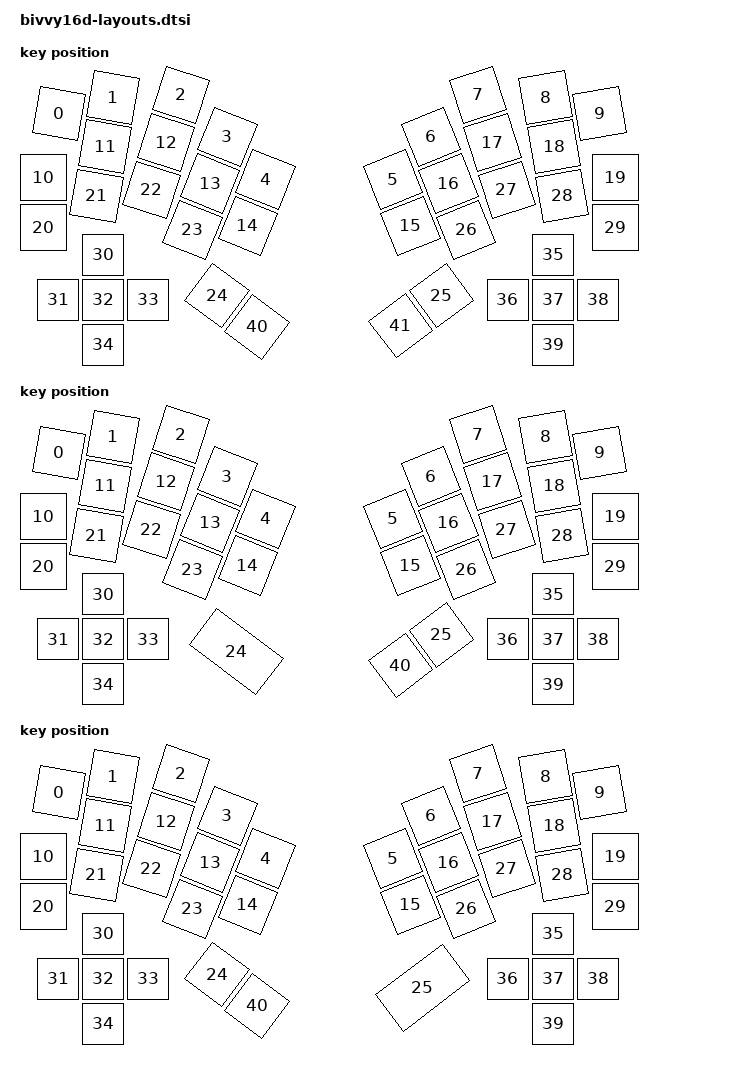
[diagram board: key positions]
#include <physical_layouts.dtsi>

/ {
    physical_layout0: physical_layout_0 {
        compatible = "zmk,physical-layout";
        display-name = "LAYOUT_L16_R16";

        kscan = <&kscan0>;
        transform = <&matrix_transform0>;

        keys  //                     w   h    x    y     rot    rx    ry
            = <&key_physical_attrs 100 100   32   37    1000    82    87>
            , <&key_physical_attrs 100 100  140    5    1000   190    55>
            , <&key_physical_attrs 100 100  276    0    1800   326    50>
            , <&key_physical_attrs 100 100  369   84    2200   419   134>
            , <&key_physical_attrs 100 100  445  169    2200   495   219>
            , <&key_physical_attrs 100 100  700  169 (-2200)   750   219>
            , <&key_physical_attrs 100 100  776   84 (-2200)   826   134>
            , <&key_physical_attrs 100 100  870    0 (-1800)   920    50>
            , <&key_physical_attrs 100 100 1005    5 (-1000)  1055    55>
            , <&key_physical_attrs 100 100 1113   37 (-1000)  1163    87>
            , <&key_physical_attrs 100 100    0  165       0     0     0>
            , <&key_physical_attrs 100 100  124  103    1000   174   153>
            , <&key_physical_attrs 100 100  246   95    1800   296   145>
            , <&key_physical_attrs 100 100  334  177    2200   384   227>
            , <&key_physical_attrs 100 100  410  262    2200   460   312>
            , <&key_physical_attrs 100 100  735  262 (-2200)   785   312>
            , <&key_physical_attrs 100 100  811  177 (-2200)   861   227>
            , <&key_physical_attrs 100 100  899   95 (-1800)   949   145>
            , <&key_physical_attrs 100 100 1022  103 (-1000)  1072   153>
            , <&key_physical_attrs 100 100 1145  165       0     0     0>
            , <&key_physical_attrs 100 100    0  265       0     0     0>
            , <&key_physical_attrs 100 100  107  202    1000   157   252>
            , <&key_physical_attrs 100 100  217  190    1800   267   240>
            , <&key_physical_attrs 100 100  299  270    2200   349   320>
            , <&key_physical_attrs 100 100  348  401    3700   398   451>
            , <&key_physical_attrs 100 100  797  401 (-3700)   847   451>
            , <&key_physical_attrs 100 100  846  270 (-2200)   896   320>
            , <&key_physical_attrs 100 100  928  190 (-1800)   978   240>
            , <&key_physical_attrs 100 100 1038  202 (-1000)  1088   252>
            , <&key_physical_attrs 100 100 1145  265       0     0     0>
            , <&key_physical_attrs  90  90  125  325       0     0     0>
            , <&key_physical_attrs  90  90   35  415       0     0     0>
            , <&key_physical_attrs  90  90  125  415       0     0     0>
            , <&key_physical_attrs  90  90  215  415       0     0     0>
            , <&key_physical_attrs  90  90  125  505       0     0     0>
            , <&key_physical_attrs  90  90 1025  325       0     0     0>
            , <&key_physical_attrs  90  90  935  415       0     0     0>
            , <&key_physical_attrs  90  90 1025  415       0     0     0>
            , <&key_physical_attrs  90  90 1115  415       0     0     0>
            , <&key_physical_attrs  90  90 1025  505       0     0     0>
            , <&key_physical_attrs 100 100  428  464    3700   478   514>
            , <&key_physical_attrs 100 100  717  461 (-3700)   767   514>
            ;
    };

    physical_layout1: physical_layout_1 {
        compatible = "zmk,physical-layout";
        display-name = "LAYOUT_L15_R16";

        kscan = <&kscan1>;
        transform = <&matrix_transform1>;

        keys  //                     w   h    x    y     rot    rx    ry
            = <&key_physical_attrs 100 100   32   37    1000    82    87>
            , <&key_physical_attrs 100 100  140    5    1000   190    55>
            , <&key_physical_attrs 100 100  276    0    1800   326    50>
            , <&key_physical_attrs 100 100  369   84    2200   419   134>
            , <&key_physical_attrs 100 100  445  169    2200   495   219>
            , <&key_physical_attrs 100 100  700  169 (-2200)   750   219>
            , <&key_physical_attrs 100 100  776   84 (-2200)   826   134>
            , <&key_physical_attrs 100 100  870    0 (-1800)   920    50>
            , <&key_physical_attrs 100 100 1005    5 (-1000)  1055    55>
            , <&key_physical_attrs 100 100 1113   37 (-1000)  1163    87>
            , <&key_physical_attrs 100 100    0  165       0     0     0>
            , <&key_physical_attrs 100 100  124  103    1000   174   153>
            , <&key_physical_attrs 100 100  246   95    1800   296   145>
            , <&key_physical_attrs 100 100  334  177    2200   384   227>
            , <&key_physical_attrs 100 100  410  262    2200   460   312>
            , <&key_physical_attrs 100 100  735  262 (-2200)   785   312>
            , <&key_physical_attrs 100 100  811  177 (-2200)   861   227>
            , <&key_physical_attrs 100 100  899   95 (-1800)   949   145>
            , <&key_physical_attrs 100 100 1022  103 (-1000)  1072   153>
            , <&key_physical_attrs 100 100 1145  165       0     0     0>
            , <&key_physical_attrs 100 100    0  265       0     0     0>
            , <&key_physical_attrs 100 100  107  202    1000   157   252>
            , <&key_physical_attrs 100 100  217  190    1800   267   240>
            , <&key_physical_attrs 100 100  299  270    2200   349   320>
            , <&key_physical_attrs 175 100  357  437    3700   445   474>
            , <&key_physical_attrs 100 100  797  401 (-3700)   847   451>
            , <&key_physical_attrs 100 100  846  270 (-2200)   896   320>
            , <&key_physical_attrs 100 100  928  190 (-1800)   978   240>
            , <&key_physical_attrs 100 100 1038  202 (-1000)  1088   252>
            , <&key_physical_attrs 100 100 1145  265       0     0     0>
            , <&key_physical_attrs  90  90  125  325       0     0     0>
            , <&key_physical_attrs  90  90   35  415       0     0     0>
            , <&key_physical_attrs  90  90  125  415       0     0     0>
            , <&key_physical_attrs  90  90  215  415       0     0     0>
            , <&key_physical_attrs  90  90  125  505       0     0     0>
            , <&key_physical_attrs  90  90 1025  325       0     0     0>
            , <&key_physical_attrs  90  90  935  415       0     0     0>
            , <&key_physical_attrs  90  90 1025  415       0     0     0>
            , <&key_physical_attrs  90  90 1115  415       0     0     0>
            , <&key_physical_attrs  90  90 1025  505       0     0     0>
            , <&key_physical_attrs 100 100  717  461 (-3700)   767   514>
            ;
    };

    physical_layout2: physical_layout_2 {
        compatible = "zmk,physical-layout";
        display-name = "LAYOUT_L16_R15";

        kscan = <&kscan2>;
        transform = <&matrix_transform2>;

        keys  //                     w   h    x    y     rot    rx    ry
            = <&key_physical_attrs 100 100   32   37    1000    82    87>
            , <&key_physical_attrs 100 100  140    5    1000   190    55>
            , <&key_physical_attrs 100 100  276    0    1800   326    50>
            , <&key_physical_attrs 100 100  369   84    2200   419   134>
            , <&key_physical_attrs 100 100  445  169    2200   495   219>
            , <&key_physical_attrs 100 100  700  169 (-2200)   750   219>
            , <&key_physical_attrs 100 100  776   84 (-2200)   826   134>
            , <&key_physical_attrs 100 100  870    0 (-1800)   920    50>
            , <&key_physical_attrs 100 100 1005    5 (-1000)  1055    55>
            , <&key_physical_attrs 100 100 1113   37 (-1000)  1163    87>
            , <&key_physical_attrs 100 100    0  165       0     0     0>
            , <&key_physical_attrs 100 100  124  103    1000   174   153>
            , <&key_physical_attrs 100 100  246   95    1800   296   145>
            , <&key_physical_attrs 100 100  334  177    2200   384   227>
            , <&key_physical_attrs 100 100  410  262    2200   460   312>
            , <&key_physical_attrs 100 100  735  262 (-2200)   785   312>
            , <&key_physical_attrs 100 100  811  177 (-2200)   861   227>
            , <&key_physical_attrs 100 100  899   95 (-1800)   949   145>
            , <&key_physical_attrs 100 100 1022  103 (-1000)  1072   153>
            , <&key_physical_attrs 100 100 1145  165       0     0     0>
            , <&key_physical_attrs 100 100    0  265       0     0     0>
            , <&key_physical_attrs 100 100  107  202    1000   157   252>
            , <&key_physical_attrs 100 100  217  190    1800   267   240>
            , <&key_physical_attrs 100 100  299  270    2200   349   320>
            , <&key_physical_attrs 100 100  348  401    3700   398   451>
            , <&key_physical_attrs 175 100  733  387 (-3700)   875   474>
            , <&key_physical_attrs 100 100  846  270 (-2200)   896   320>
            , <&key_physical_attrs 100 100  928  190 (-1800)   978   240>
            , <&key_physical_attrs 100 100 1038  202 (-1000)  1088   252>
            , <&key_physical_attrs 100 100 1145  265       0     0     0>
            , <&key_physical_attrs  90  90  125  325       0     0     0>
            , <&key_physical_attrs  90  90   35  415       0     0     0>
            , <&key_physical_attrs  90  90  125  415       0     0     0>
            , <&key_physical_attrs  90  90  215  415       0     0     0>
            , <&key_physical_attrs  90  90  125  505       0     0     0>
            , <&key_physical_attrs  90  90 1025  325       0     0     0>
            , <&key_physical_attrs  90  90  935  415       0     0     0>
            , <&key_physical_attrs  90  90 1025  415       0     0     0>
            , <&key_physical_attrs  90  90 1115  415       0     0     0>
            , <&key_physical_attrs  90  90 1025  505       0     0     0>
            , <&key_physical_attrs 100 100  428  464    3700   478   514>
            ;
    };

    physical_layout3: physical_layout_3 {
        compatible = "zmk,physical-layout";
        display-name = "LAYOUT_L15_R15";

        kscan = <&kscan3>;
        transform = <&matrix_transform3>;

        keys  //                     w   h    x    y     rot    rx    ry
            = <&key_physical_attrs 100 100   32   37    1000    82    87>
            , <&key_physical_attrs 100 100  140    5    1000   190    55>
            , <&key_physical_attrs 100 100  276    0    1800   326    50>
            , <&key_physical_attrs 100 100  369   84    2200   419   134>
            , <&key_physical_attrs 100 100  445  169    2200   495   219>
            , <&key_physical_attrs 100 100  700  169 (-2200)   750   219>
            , <&key_physical_attrs 100 100  776   84 (-2200)   826   134>
            , <&key_physical_attrs 100 100  870    0 (-1800)   920    50>
            , <&key_physical_attrs 100 100 1005    5 (-1000)  1055    55>
            , <&key_physical_attrs 100 100 1113   37 (-1000)  1163    87>
            , <&key_physical_attrs 100 100    0  165       0     0     0>
            , <&key_physical_attrs 100 100  124  103    1000   174   153>
            , <&key_physical_attrs 100 100  246   95    1800   296   145>
            , <&key_physical_attrs 100 100  334  177    2200   384   227>
            , <&key_physical_attrs 100 100  410  262    2200   460   312>
            , <&key_physical_attrs 100 100  735  262 (-2200)   785   312>
            , <&key_physical_attrs 100 100  811  177 (-2200)   861   227>
            , <&key_physical_attrs 100 100  899   95 (-1800)   949   145>
            , <&key_physical_attrs 100 100 1022  103 (-1000)  1072   153>
            , <&key_physical_attrs 100 100 1145  165       0     0     0>
            , <&key_physical_attrs 100 100    0  265       0     0     0>
            , <&key_physical_attrs 100 100  107  202    1000   157   252>
            , <&key_physical_attrs 100 100  217  190    1800   267   240>
            , <&key_physical_attrs 100 100  299  270    2200   349   320>
            , <&key_physical_attrs 175 100  357  437    3700   445   474>
            , <&key_physical_attrs 175 100  733  387 (-3700)   875   474>
            , <&key_physical_attrs 100 100  846  270 (-2200)   896   320>
            , <&key_physical_attrs 100 100  928  190 (-1800)   978   240>
            , <&key_physical_attrs 100 100 1038  202 (-1000)  1088   252>
            , <&key_physical_attrs 100 100 1145  265       0     0     0>
            , <&key_physical_attrs  90  90  125  325       0     0     0>
            , <&key_physical_attrs  90  90   35  415       0     0     0>
            , <&key_physical_attrs  90  90  125  415       0     0     0>
            , <&key_physical_attrs  90  90  215  415       0     0     0>
            , <&key_physical_attrs  90  90  125  505       0     0     0>
            , <&key_physical_attrs  90  90 1025  325       0     0     0>
            , <&key_physical_attrs  90  90  935  415       0     0     0>
            , <&key_physical_attrs  90  90 1025  415       0     0     0>
            , <&key_physical_attrs  90  90 1115  415       0     0     0>
            , <&key_physical_attrs  90  90 1025  505       0     0     0>
            ;
    };
};
